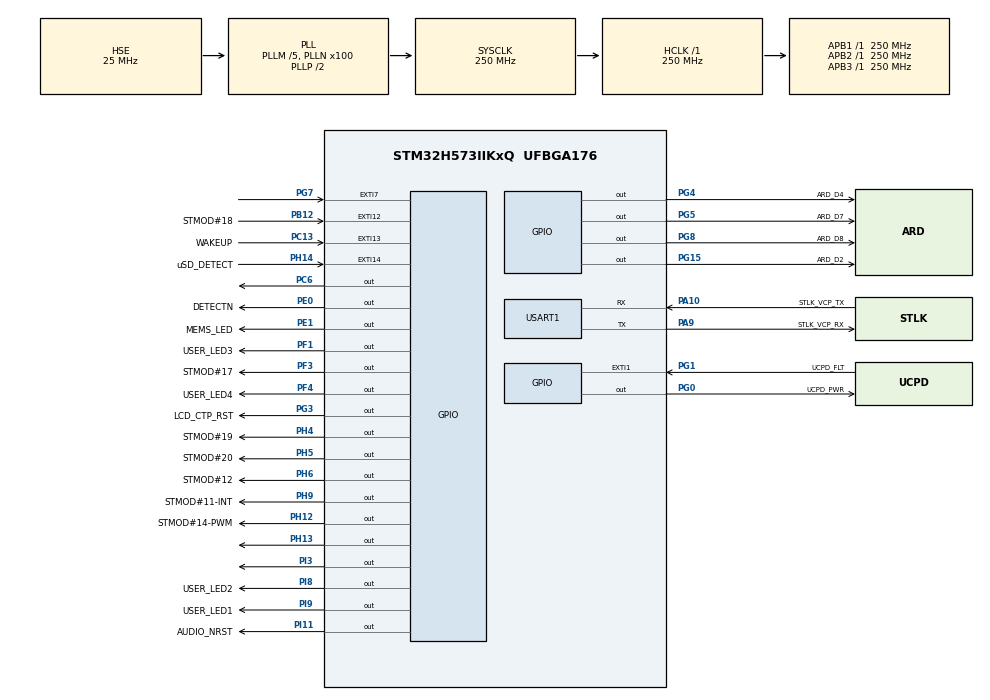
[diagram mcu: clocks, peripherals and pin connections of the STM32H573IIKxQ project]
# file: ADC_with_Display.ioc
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ADC1.Channel-1\#ChannelRegularConversion=ADC_CHANNEL_TEMPSENSOR
ADC1.ContinuousConvMode=ENABLE
ADC1.DMAContinuousRequests=DISABLE
ADC1.MonitoredBy-1\#ChannelRegularConversion=__NULL
ADC1.NbrOfConversionFlag=1
ADC1.OffsetNumber-1\#ChannelRegularConversion=ADC_OFFSET_NONE
ADC1.Rank-1\#ChannelRegularConversion=1
ADC1.SamplingTime-1\#ChannelRegularConversion=ADC_SAMPLETIME_2CYCLES_5
ADC1.master=1
BOOTPATH.BootPathName=LEGACY
BOOTPATH.UserSelectedBootPath=LEGACY
CORTEX_M33_NS.userName=CORTEX_M33
Mcu.Family=STM32H5
Mcu.Name=STM32H573IIKxQ
Mcu.Package=UFBGA176
NVIC.EXTI7_IRQn=true\:0\:0\:false\:false\:true\:false\:true\:true
NVIC.PriorityGroup=NVIC_PRIORITYGROUP_4
PA0.GPIO_Label=ARD_A2
PA0.Signal=ADCx_INP0
PA1.GPIO_Label=RMII_REF_CLK
PA1.Signal=ETH_REF_CLK
PA10.GPIO_Label=STLK_VCP_TX
PA10.Mode=Asynchronous
PA10.Signal=USART1_RX
PA11.GPIO_Label=USB_FS_N
PA11.Signal=USB_DM
PA12.GPIO_Label=USB_FS_P
PA12.Signal=USB_DP
PA13(JTMS/SWDIO).GPIO_Label=JTMS
PA13(JTMS/SWDIO).Signal=DEBUG_JTMS-SWDIO
PA14(JTCK/SWCLK).GPIO_Label=JTCK
PA14(JTCK/SWCLK).Signal=DEBUG_JTCK-SWCLK
PA15(JTDI).GPIO_Label=JTDI
PA15(JTDI).Signal=DEBUG_JTDI
PA2.GPIO_Label=RMII_MDIO
PA2.Signal=ETH_MDIO
PA3.GPIO_Label=ARD_D10
PA3.Signal=SPI2_NSS
PA4.GPIO_Label=ARD_A1
PA4.Signal=ADCx_INP18
PA5.GPIO_Label=ARD_A3
PA5.Signal=ADCx_INP19
PA6.GPIO_Label=ARD_A4
PA6.Signal=ADCx_INP3
PA7.GPIO_Label=RMII_CRS_DV
PA7.Signal=ETH_CRS_DV
PA8.GPIO_Label=ARD_D9
PA8.Signal=S_TIM1_CH1
PA9.GPIO_Label=STLK_VCP_RX
PA9.Mode=Asynchronous
PA9.Signal=USART1_TX
PB0.GPIO_Label=ARD_A0
PB0.Signal=ADCx_INP9
PB1.Signal=OCTOSPI1_IO0
PB10.GPIO_Label=ARD_D1
PB10.Signal=USART3_TX
PB11.GPIO_Label=ARD_D0
PB11.Signal=USART3_RX
PB12.GPIO_Label=STMOD\#18
PB12.Signal=GPXTI12
PB13.GPIO_Label=UCPD_CC1
PB13.Signal=UCPD1_CC1
PB14.GPIO_Label=UCPD_CC2
PB14.Signal=UCPD1_CC2
PB15.GPIO_Label=ARD_D11
PB15.Signal=SPI2_MOSI
PB2.Signal=OCTOSPI1_DQS
PB3(JTDO/TRACESWO).GPIO_Label=SWO
PB3(JTDO/TRACESWO).Signal=DEBUG_JTDO-SWO
PB5.GPIO_Label=ARD_D3
PB5.Signal=S_TIM3_CH2
PB6.GPIO_Label=I2C1_SCL
PB6.Signal=I2C1_SCL
PB7.GPIO_Label=I2C1_SDA
PB7.Signal=I2C1_SDA
PC0.Signal=OCTOSPI1_IO7
PC1.GPIO_Label=RMII_MDC
PC1.Signal=ETH_MDC
PC10.GPIO_Label=SDIO1_D2
PC10.Signal=SDMMC1_D2
PC11.GPIO_Label=SDIO1_D3
PC11.Signal=SDMMC1_D3
PC12.GPIO_Label=SDIO1_CK
PC12.Signal=SDMMC1_CK
PC13.GPIO_Label=WAKEUP
PC13.Signal=GPXTI13
PC14-OSC32_IN(OSC32_IN).Signal=RCC_OSC32_IN
PC15-OSC32_OUT(OSC32_OUT).Signal=RCC_OSC32_OUT
PC2.Signal=OCTOSPI1_IO2
PC3.GPIO_Label=PDM_SAI1_SD3
PC3.Signal=SAI1_D3
PC4.GPIO_Label=RMII_RXD0
PC4.Signal=ETH_RXD0
PC5.GPIO_Label=RMII_RXD1
PC5.Signal=ETH_RXD1
PC6.Signal=GPIO_Output
PC7.Signal=FMC_NE1
PC8.GPIO_Label=SDIO1_D0
PC8.Signal=SDMMC1_D0
PC9.GPIO_Label=SDIO1_D1
PC9.Signal=SDMMC1_D1
PD0.Signal=FMC_D2_DA2
PD1.Signal=FMC_D3_DA3
PD10.Signal=FMC_D15_DA15
PD11.Signal=SAI1_CK1
PD12.Signal=OCTOSPI1_IO1
PD13.Signal=OCTOSPI1_IO3
PD14.Signal=FMC_D0_DA0
PD15.Signal=FMC_D1_DA1
PD2.GPIO_Label=SDIO1_CMD
PD2.Signal=SDMMC1_CMD
PD3.Signal=FMC_CLK
PD4.Signal=FMC_NOE
PD5.Signal=FMC_NWE
PD6.Signal=SAI1_SD_A
PD8.Signal=FMC_D13_DA13
PD9.Signal=FMC_D14_DA14
PE0.GPIO_Label=DETECTN
PE0.Signal=GPIO_Output
PE1.GPIO_Label=MEMS_LED
PE1.Signal=GPIO_Output
PE10.Signal=FMC_D7_DA7
PE11.Signal=FMC_D8_DA8
PE12.Signal=FMC_D9_DA9
PE13.Signal=FMC_D10_DA10
PE14.Signal=FMC_D11_DA11
PE15.Signal=FMC_D12_DA12
PE2.Signal=DEBUG_TRACECLK
PE3.GPIO_Label=TRACED0
PE3.Signal=DEBUG_TRACED0
PE4.Signal=SAI1_D2
PE5.GPIO_Label=TRACED2
PE5.Signal=DEBUG_TRACED2
PE6.GPIO_Label=TRACED3
PE6.Signal=DEBUG_TRACED3
PE7.Signal=FMC_D4_DA4
PE8.Signal=FMC_D5_DA5
PE9.Signal=FMC_D6_DA6
PF0.Signal=FMC_A0
PF1.GPIO_Label=USER_LED3
PF1.Signal=GPIO_Output
PF10.Signal=OCTOSPI1_CLK
PF11.GPIO_Label=STMOD\#13
PF11.Signal=ADC1_INP2
PF12.GPIO_Label=ARD_A5
PF12.Signal=ADC1_INP6
PF13.GPIO_Label=IBUS_SENSE
PF13.Signal=ADC2_INP2
PF14.GPIO_Label=VBUS_SENSE
PF14.Signal=ADC2_INP6
PF3.GPIO_Label=STMOD\#17
PF3.Signal=GPIO_Output
PF4.GPIO_Label=USER_LED4
PF4.Signal=GPIO_Output
PG0.GPIO_Label=UCPD_PWR
PG0.Signal=GPIO_Output
PG1.GPIO_Label=UCPD_FLT
PG1.Signal=GPXTI1
PG10.GPIO_Label=SAI2_SD_B
PG10.Signal=SAI2_SD_B
PG11.GPIO_Label=RMII_TX_EN
PG11.Signal=ETH_TX_EN
PG12.GPIO_Label=RMII_TXD1
PG12.Signal=ETH_TXD1
PG13.Signal=ETH_TXD0
PG14.GPIO_Label=TRACED1
PG14.Signal=DEBUG_TRACED1
PG15.GPIO_Label=ARD_D2
PG15.Signal=GPIO_Output
PG3.GPIO_Label=LCD_CTP_RST
PG3.Signal=GPIO_Output
PG4.GPIO_Label=ARD_D4
PG4.Signal=GPIO_Output
PG5.GPIO_Label=ARD_D7
PG5.Signal=GPIO_Output
PG6.Signal=OCTOSPI1_NCS
PG7.Signal=GPXTI7
PG8.GPIO_Label=ARD_D8
PG8.Signal=GPIO_Output
PG9.Signal=OCTOSPI1_IO6
PH0-OSC_IN(PH0).Mode=HSE-DIG-External-Clock-Source
PH0-OSC_IN(PH0).Signal=RCC_OSC_IN
PH10.GPIO_Label=ARD_D6
PH10.Signal=S_TIM5_CH1
PH11.GPIO_Label=ARD_D5
PH11.Signal=S_TIM5_CH2
PH12.GPIO_Label=STMOD\#14-PWM
PH12.Signal=GPIO_Output
PH13.Signal=GPIO_Output
PH14.GPIO_Label=uSD_DETECT
PH14.Signal=GPXTI14
PH2.Signal=OCTOSPI1_IO4
PH3.Signal=OCTOSPI1_IO5
PH4.GPIO_Label=STMOD\#19
PH4.Signal=GPIO_Output
PH5.GPIO_Label=STMOD\#20
PH5.Signal=GPIO_Output
PH6.GPIO_Label=STMOD\#12
PH6.Signal=GPIO_Output
PH7.GPIO_Label=STMOD\#12-RST
PH7.Signal=SPI5_MISO
PH8.GPIO_Label=STMOD\#9-MISOs
PH8.Signal=SPI5_MOSI
PH9.GPIO_Label=STMOD\#11-INT
PH9.Signal=GPIO_Output
PI1.GPIO_Label=ARD_D13
PI1.Signal=SPI2_SCK
PI10.GPIO_Label=RMII_RX_ER
PI10.Signal=ETH_RX_ER
PI11.GPIO_Label=AUDIO_NRST
PI11.Signal=GPIO_Output
PI2.GPIO_Label=ARD_D12
PI2.Signal=SPI2_MISO
PI3.Signal=GPIO_Output
PI4.GPIO_Label=SAI2_MCLK_A
PI4.Signal=SAI2_MCLK_A
PI5.GPIO_Label=SAI2_SCK_A
PI5.Signal=SAI2_SCK_A
PI6.GPIO_Label=SAI2_SD_A
PI6.Signal=SAI2_SD_A
PI7.GPIO_Label=SAI2_FS_A
PI7.Signal=SAI2_FS_A
PI8.GPIO_Label=USER_LED2
PI8.Signal=GPIO_Output
PI9.GPIO_Label=USER_LED1
PI9.Signal=GPIO_Output
ProjectManager.HeapSize=0x200
ProjectManager.StackSize=0x400
ProjectManager.TargetToolchain=STM32CubeIDE
RCC.ADCFreq_Value=250000000
RCC.AHBFreq_Value=250000000
RCC.APB1Freq_Value=250000000
RCC.APB1TimFreq_Value=250000000
RCC.APB2Freq_Value=250000000
RCC.APB2TimFreq_Value=250000000
RCC.APB3Freq_Value=250000000
RCC.CSI_VALUE=4000000
RCC.CortexFreq_Value=250000000
RCC.EPOD_VALUE=25000000
RCC.HCLKFreq_Value=250000000
RCC.HSE_VALUE=25000000
RCC.HSI48_VALUE=48000000
RCC.HSIDiv=RCC_HSI_DIV1
RCC.HSI_VALUE=64000000
RCC.LSE_VALUE=32768
RCC.LSIRC_VALUE=32000
RCC.PLL2FRACN=0
RCC.PLL2N=32
RCC.PLL2P=1
RCC.PLLM=5
RCC.PLLN=100
RCC.PLLSourceVirtual=RCC_PLL1_SOURCE_HSE
RCC.SYSCLKFreq_VALUE=250000000
RCC.SYSCLKSource=RCC_SYSCLKSOURCE_PLLCLK
RCC.USBFreq_Value=48000000
RCC.VCOOutputFreq_Value=500000000
SH.ADCx_INP0.0=ADC1_INP0
SH.ADCx_INP18.0=ADC1_INP18
SH.ADCx_INP19.0=ADC1_INP19
SH.ADCx_INP3.0=ADC1_INP3
SH.ADCx_INP9.0=ADC1_INP9
SH.FMC_A0.0=FMC_A0
SH.FMC_CLK.0=FMC_CLK
SH.FMC_D0_DA0.0=FMC_D0
SH.FMC_D10_DA10.0=FMC_D10
SH.FMC_D11_DA11.0=FMC_D11
SH.FMC_D12_DA12.0=FMC_D12
SH.FMC_D13_DA13.0=FMC_D13
SH.FMC_D14_DA14.0=FMC_D14
SH.FMC_D15_DA15.0=FMC_D15
SH.FMC_D1_DA1.0=FMC_D1
SH.FMC_D2_DA2.0=FMC_D2
SH.FMC_D3_DA3.0=FMC_D3
SH.FMC_D4_DA4.0=FMC_D4
SH.FMC_D5_DA5.0=FMC_D5
SH.FMC_D6_DA6.0=FMC_D6
SH.FMC_D7_DA7.0=FMC_D7
SH.FMC_D8_DA8.0=FMC_D8
SH.FMC_D9_DA9.0=FMC_D9
SH.FMC_NOE.0=FMC_NOE
SH.FMC_NWE.0=FMC_NWE
SH.S_TIM1_CH1.0=TIM1_CH1
SH.S_TIM3_CH2.0=TIM3_CH2
SH.S_TIM5_CH1.0=TIM5_CH1
SH.S_TIM5_CH2.0=TIM5_CH2
STM32H573I-DK.LCD_TC_ON=true
STM32H573I-DK.OCTOSPI_DEMO=true
USART1.VirtualMode-Asynchronous=VM_ASYNC
VP_ADC1_TempSens_Input.Mode=IN-TempSens
VP_BOOTPATH_VS_BOOTPATH.Mode=BP_Activate
VP_CORTEX_M33_NS_VS_Hclk.Mode=Hclk_Mode
VP_GPDMA1_VS_GPDMACH0.Mode=SIMPLEREQUEST_GPDMACH0
VP_ICACHE_VS_ICACHE.Mode=DirectMappedCache
VP_MEMORYMAP_VS_MEMORYMAP.Mode=CurAppReg
VP_PWR_VS_LPOM.Mode=PowerOptimisation
VP_PWR_VS_SECSignals.Mode=Security/Privilege
VP_STM32H573I-DK_VS_BSP_LCD.Mode=LCD
VP_STM32H573I-DK_VS_BSP_OCTO_SPI.Mode=OSPI
board=STM32H573I-DK

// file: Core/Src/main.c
/* USER CODE BEGIN Header */
/**
  ******************************************************************************
  * @file           : main.c
  * @brief          : Main program body
  ******************************************************************************
  * @attention
  *
  * Copyright (c) 2025 STMicroelectronics.
  * All rights reserved.
  *
  * This software is licensed under terms that can be found in the LICENSE file
  * in the root directory of this software component.
  * If no LICENSE file comes with this software, it is provided AS-IS.
  *
  ******************************************************************************
  */
/* USER CODE END Header */
#include "main.h"

/* USER CODE BEGIN Includes */
#include "stdio.h"
/* USER CODE END Includes */

TS_Init_t   BspTSInit;
BSP_OSPI_NOR_Init_t BspOSPINORInit;
ADC_HandleTypeDef hadc1;

DMA_HandleTypeDef handle_GPDMA1_Channel0;

UART_HandleTypeDef huart1;

void SystemClock_Config(void);
static void MX_GPIO_Init(void);
static void MX_GPDMA1_Init(void);
static void MX_ADC1_Init(void);
static void MX_ICACHE_Init(void);
static void MX_USART1_UART_Init(void);

/* USER CODE BEGIN 0 */
int _write(int file, char *ptr, int len)
{
    HAL_UART_Transmit(&huart1, (uint8_t*)ptr, len, HAL_MAX_DELAY);
    return len;
}
/* USER CODE END 0 */

int main(void)
{

  /* MCU Configuration--------------------------------------------------------*/

  /* Reset of all peripherals, Initializes the Flash interface and the Systick. */
  HAL_Init();

  /* Configure the system clock */
  SystemClock_Config();

  /* Initialize all configured peripherals */
  MX_GPIO_Init();
  MX_GPDMA1_Init();
  MX_ADC1_Init();
  MX_ICACHE_Init();
  MX_USART1_UART_Init();

  /* Initialize LCD to black */
  if (BSP_LCD_Init(0, LCD_ORIENTATION_LANDSCAPE) != BSP_ERROR_NONE)
  {
    Error_Handler();
  }

  /* Initialize Touch screen with interrupts */
  BspTSInit.Orientation = TS_ORIENTATION_LANDSCAPE;
  BspTSInit.Accuracy = 5;
  BspTSInit.Width = LCD_DEFAULT_WIDTH;
  BspTSInit.Height = LCD_DEFAULT_HEIGHT;
  if (BSP_TS_Init(0, &BspTSInit) != BSP_ERROR_NONE)
  {
    Error_Handler();
  }
  BSP_TS_EnableIT(0);

  /* Initialize OCTAL NOR memory */
  BspOSPINORInit.InterfaceMode = BSP_OSPI_NOR_OPI_MODE;
  BspOSPINORInit.TransferRate = BSP_OSPI_NOR_DTR_TRANSFER;
  if (BSP_OSPI_NOR_Init(0, &BspOSPINORInit) != BSP_ERROR_NONE)
  {
    Error_Handler();
  }
  UTIL_LCD_SetFuncDriver(&LCD_Driver);
     UTIL_LCD_SetFont(&Font24);
     UTIL_LCD_Clear(UTIL_LCD_COLOR_ST_BLUE_DARK);
     UTIL_LCD_SetBackColor(UTIL_LCD_COLOR_ST_BLUE_DARK);
     UTIL_LCD_SetTextColor(UTIL_LCD_COLOR_WHITE);
     UTIL_LCD_DisplayStringAt(0, 25, (uint8_t *)"Welcome to", CENTER_MODE);
     UTIL_LCD_DisplayStringAt(0, 50, (uint8_t *)"aiXtrusion!", CENTER_MODE);

  /* Infinite loop */
  /* USER CODE BEGIN WHILE */
  while (1)
  {
	  HAL_ADC_Start(&hadc1);
	      HAL_ADC_PollForConversion(&hadc1, 10);
	      uint32_t adc_value = HAL_ADC_GetValue(&hadc1);

	      float voltage = (float)adc_value * 3.3f / 4095.0f;
	      float temperature = (voltage - 0.5f) * 100.0f;

	      // Print to UART
	      printf("ADC Value: %lu, Voltage: %.3f V, Temperature: %.2f C\r\n",
	             adc_value, voltage, temperature);

	      // Print to LCD
	      char temp_str[32];
	      sprintf(temp_str, "Temp: %.2f C", temperature);
	      UTIL_LCD_DisplayStringAt(0, 75, (uint8_t*)temp_str, CENTER_MODE);

//	   	char adc_v[20];  // allocate enough space for the string
//	   	sprintf(adc_v, "ADC: %lu", adc_value);  // use %lu for unsigned long
//	   	UTIL_LCD_DisplayStringAt(0, 100, (uint8_t*)adc_v, CENTER_MODE);

	  HAL_Delay(1000);
    /* USER CODE END WHILE */

  }
}

void SystemClock_Config(void)
{
  RCC_OscInitTypeDef RCC_OscInitStruct = {0};
  RCC_ClkInitTypeDef RCC_ClkInitStruct = {0};

  /** Configure the main internal regulator output voltage
  */
  __HAL_PWR_VOLTAGESCALING_CONFIG(PWR_REGULATOR_VOLTAGE_SCALE0);

  while(!__HAL_PWR_GET_FLAG(PWR_FLAG_VOSRDY)) {}

  /** Initializes the RCC Oscillators according to the specified parameters
  * in the RCC_OscInitTypeDef structure.
  */
  RCC_OscInitStruct.OscillatorType = RCC_OSCILLATORTYPE_HSE;
  RCC_OscInitStruct.HSEState = RCC_HSE_BYPASS_DIGITAL;
  RCC_OscInitStruct.PLL.PLLState = RCC_PLL_ON;
  RCC_OscInitStruct.PLL.PLLSource = RCC_PLL1_SOURCE_HSE;
  RCC_OscInitStruct.PLL.PLLM = 5;
  RCC_OscInitStruct.PLL.PLLN = 100;
  RCC_OscInitStruct.PLL.PLLP = 2;
  RCC_OscInitStruct.PLL.PLLQ = 2;
  RCC_OscInitStruct.PLL.PLLR = 2;
  RCC_OscInitStruct.PLL.PLLRGE = RCC_PLL1_VCIRANGE_2;
  RCC_OscInitStruct.PLL.PLLVCOSEL = RCC_PLL1_VCORANGE_WIDE;
  RCC_OscInitStruct.PLL.PLLFRACN = 0;
  if (HAL_RCC_OscConfig(&RCC_OscInitStruct) != HAL_OK)
  {
    Error_Handler();
  }

  /** Initializes the CPU, AHB and APB buses clocks
  */
  RCC_ClkInitStruct.ClockType = RCC_CLOCKTYPE_HCLK|RCC_CLOCKTYPE_SYSCLK
                              |RCC_CLOCKTYPE_PCLK1|RCC_CLOCKTYPE_PCLK2
                              |RCC_CLOCKTYPE_PCLK3;
  RCC_ClkInitStruct.SYSCLKSource = RCC_SYSCLKSOURCE_PLLCLK;
  RCC_ClkInitStruct.AHBCLKDivider = RCC_SYSCLK_DIV1;
  RCC_ClkInitStruct.APB1CLKDivider = RCC_HCLK_DIV1;
  RCC_ClkInitStruct.APB2CLKDivider = RCC_HCLK_DIV1;
  RCC_ClkInitStruct.APB3CLKDivider = RCC_HCLK_DIV1;

  if (HAL_RCC_ClockConfig(&RCC_ClkInitStruct, FLASH_LATENCY_5) != HAL_OK)
  {
    Error_Handler();
  }

  /** Configure the programming delay
  */
  __HAL_FLASH_SET_PROGRAM_DELAY(FLASH_PROGRAMMING_DELAY_2);
}

static void MX_ADC1_Init(void)
{

  ADC_ChannelConfTypeDef sConfig = {0};

  /** Common config
  */
  hadc1.Instance = ADC1;
  hadc1.Init.ClockPrescaler = ADC_CLOCK_ASYNC_DIV4;
  hadc1.Init.Resolution = ADC_RESOLUTION_12B;
  hadc1.Init.DataAlign = ADC_DATAALIGN_RIGHT;
  hadc1.Init.ScanConvMode = ADC_SCAN_DISABLE;
  hadc1.Init.EOCSelection = ADC_EOC_SINGLE_CONV;
  hadc1.Init.LowPowerAutoWait = DISABLE;
  hadc1.Init.ContinuousConvMode = ENABLE;
  hadc1.Init.NbrOfConversion = 1;
  hadc1.Init.DiscontinuousConvMode = DISABLE;
  hadc1.Init.ExternalTrigConv = ADC_SOFTWARE_START;
  hadc1.Init.ExternalTrigConvEdge = ADC_EXTERNALTRIGCONVEDGE_NONE;
  hadc1.Init.DMAContinuousRequests = DISABLE;
  hadc1.Init.SamplingMode = ADC_SAMPLING_MODE_NORMAL;
  hadc1.Init.Overrun = ADC_OVR_DATA_PRESERVED;
  hadc1.Init.OversamplingMode = DISABLE;
  if (HAL_ADC_Init(&hadc1) != HAL_OK)
  {
    Error_Handler();
  }

  /** Configure Regular Channel
  */
  sConfig.Channel = ADC_CHANNEL_TEMPSENSOR;
  sConfig.Rank = ADC_REGULAR_RANK_1;
  sConfig.SamplingTime = ADC_SAMPLETIME_2CYCLES_5;
  sConfig.SingleDiff = ADC_SINGLE_ENDED;
  sConfig.OffsetNumber = ADC_OFFSET_NONE;
  sConfig.Offset = 0;
  if (HAL_ADC_ConfigChannel(&hadc1, &sConfig) != HAL_OK)
  {
    Error_Handler();
  }

}

static void MX_GPDMA1_Init(void)
{

  /* Peripheral clock enable */
  __HAL_RCC_GPDMA1_CLK_ENABLE();

  handle_GPDMA1_Channel0.Instance = GPDMA1_Channel0;
  handle_GPDMA1_Channel0.Init.Request = DMA_REQUEST_SW;
  handle_GPDMA1_Channel0.Init.BlkHWRequest = DMA_BREQ_SINGLE_BURST;
  handle_GPDMA1_Channel0.Init.Direction = DMA_MEMORY_TO_MEMORY;
  handle_GPDMA1_Channel0.Init.SrcInc = DMA_SINC_FIXED;
  handle_GPDMA1_Channel0.Init.DestInc = DMA_DINC_FIXED;
  handle_GPDMA1_Channel0.Init.SrcDataWidth = DMA_SRC_DATAWIDTH_BYTE;
  handle_GPDMA1_Channel0.Init.DestDataWidth = DMA_DEST_DATAWIDTH_BYTE;
  handle_GPDMA1_Channel0.Init.Priority = DMA_LOW_PRIORITY_LOW_WEIGHT;
  handle_GPDMA1_Channel0.Init.SrcBurstLength = 1;
  handle_GPDMA1_Channel0.Init.DestBurstLength = 1;
  handle_GPDMA1_Channel0.Init.TransferAllocatedPort = DMA_SRC_ALLOCATED_PORT0|DMA_DEST_ALLOCATED_PORT0;
  handle_GPDMA1_Channel0.Init.TransferEventMode = DMA_TCEM_BLOCK_TRANSFER;
  handle_GPDMA1_Channel0.Init.Mode = DMA_NORMAL;
  if (HAL_DMA_Init(&handle_GPDMA1_Channel0) != HAL_OK)
  {
    Error_Handler();
  }
  if (HAL_DMA_ConfigChannelAttributes(&handle_GPDMA1_Channel0, DMA_CHANNEL_NPRIV) != HAL_OK)
  {
    Error_Handler();
  }

}

static void MX_ICACHE_Init(void)
{

  /** Enable instruction cache in 1-way (direct mapped cache)
  */
  if (HAL_ICACHE_ConfigAssociativityMode(ICACHE_1WAY) != HAL_OK)
  {
    Error_Handler();
  }
  if (HAL_ICACHE_Enable() != HAL_OK)
  {
    Error_Handler();
  }

}

static void MX_USART1_UART_Init(void)
{

  huart1.Instance = USART1;
  huart1.Init.BaudRate = 115200;
  huart1.Init.WordLength = UART_WORDLENGTH_8B;
  huart1.Init.StopBits = UART_STOPBITS_1;
  huart1.Init.Parity = UART_PARITY_NONE;
  huart1.Init.Mode = UART_MODE_TX_RX;
  huart1.Init.HwFlowCtl = UART_HWCONTROL_NONE;
  huart1.Init.OverSampling = UART_OVERSAMPLING_16;
  huart1.Init.OneBitSampling = UART_ONE_BIT_SAMPLE_DISABLE;
  huart1.Init.ClockPrescaler = UART_PRESCALER_DIV1;
  huart1.AdvancedInit.AdvFeatureInit = UART_ADVFEATURE_NO_INIT;
  if (HAL_UART_Init(&huart1) != HAL_OK)
  {
    Error_Handler();
  }
  if (HAL_UARTEx_SetTxFifoThreshold(&huart1, UART_TXFIFO_THRESHOLD_1_8) != HAL_OK)
  {
    Error_Handler();
  }
  if (HAL_UARTEx_SetRxFifoThreshold(&huart1, UART_RXFIFO_THRESHOLD_1_8) != HAL_OK)
  {
    Error_Handler();
  }
  if (HAL_UARTEx_DisableFifoMode(&huart1) != HAL_OK)
  {
    Error_Handler();
  }

}

static void MX_GPIO_Init(void)
{
  GPIO_InitTypeDef GPIO_InitStruct = {0};

  /* GPIO Ports Clock Enable */
  __HAL_RCC_GPIOI_CLK_ENABLE();
  __HAL_RCC_GPIOB_CLK_ENABLE();
  __HAL_RCC_GPIOG_CLK_ENABLE();
  __HAL_RCC_GPIOE_CLK_ENABLE();
  __HAL_RCC_GPIOD_CLK_ENABLE();
  __HAL_RCC_GPIOA_CLK_ENABLE();
  __HAL_RCC_GPIOC_CLK_ENABLE();
  __HAL_RCC_GPIOH_CLK_ENABLE();
  __HAL_RCC_GPIOF_CLK_ENABLE();

  /*Configure GPIO pin Output Level */
  HAL_GPIO_WritePin(GPIOG, ARD_D2_Pin|ARD_D8_Pin|LCD_CTP_RST_Pin|ARD_D7_Pin
                          |ARD_D4_Pin|UCPD_PWR_Pin, GPIO_PIN_RESET);

  /*Configure GPIO pin Output Level */
  HAL_GPIO_WritePin(GPIOE, MEMS_LED_Pin|DETECTN_Pin, GPIO_PIN_RESET);

  /*Configure GPIO pin Output Level */
  HAL_GPIO_WritePin(GPIOI, USER_LED1_Pin|USER_LED2_Pin|AUDIO_NRST_Pin, GPIO_PIN_RESET);

  /*Configure GPIO pin Output Level */
  HAL_GPIO_WritePin(GPIOF, USER_LED3_Pin|USER_LED4_Pin|STMOD_17_Pin, GPIO_PIN_RESET);

  /*Configure GPIO pin Output Level */
  HAL_GPIO_WritePin(GPIOH, STMOD_11_INT_Pin|STMOD_14_PWM_Pin|STMOD_20_Pin|STMOD_12_Pin
                          |STMOD_19_Pin, GPIO_PIN_RESET);

  /*Configure GPIO pins : SAI2_FS_A_Pin SAI2_SCK_A_Pin SAI2_MCLK_A_Pin SAI2_SD_A_Pin */
  GPIO_InitStruct.Pin = SAI2_FS_A_Pin|SAI2_SCK_A_Pin|SAI2_MCLK_A_Pin|SAI2_SD_A_Pin;
  GPIO_InitStruct.Mode = GPIO_MODE_AF_PP;
  GPIO_InitStruct.Pull = GPIO_NOPULL;
  GPIO_InitStruct.Speed = GPIO_SPEED_FREQ_LOW;
  GPIO_InitStruct.Alternate = GPIO_AF10_SAI2;
  HAL_GPIO_Init(GPIOI, &GPIO_InitStruct);

  /*Configure GPIO pin : ARD_D3_Pin */
  GPIO_InitStruct.Pin = ARD_D3_Pin;
  GPIO_InitStruct.Mode = GPIO_MODE_AF_PP;
  GPIO_InitStruct.Pull = GPIO_NOPULL;
  GPIO_InitStruct.Speed = GPIO_SPEED_FREQ_LOW;
  GPIO_InitStruct.Alternate = GPIO_AF2_TIM3;
  HAL_GPIO_Init(ARD_D3_GPIO_Port, &GPIO_InitStruct);

  /*Configure GPIO pins : ARD_D2_Pin ARD_D8_Pin LCD_CTP_RST_Pin ARD_D7_Pin
                           ARD_D4_Pin UCPD_PWR_Pin */
  GPIO_InitStruct.Pin = ARD_D2_Pin|ARD_D8_Pin|LCD_CTP_RST_Pin|ARD_D7_Pin
                          |ARD_D4_Pin|UCPD_PWR_Pin;
  GPIO_InitStruct.Mode = GPIO_MODE_OUTPUT_PP;
  GPIO_InitStruct.Pull = GPIO_NOPULL;
  GPIO_InitStruct.Speed = GPIO_SPEED_FREQ_LOW;
  HAL_GPIO_Init(GPIOG, &GPIO_InitStruct);

  /*Configure GPIO pin : SAI2_SD_B_Pin */
  GPIO_InitStruct.Pin = SAI2_SD_B_Pin;
  GPIO_InitStruct.Mode = GPIO_MODE_AF_PP;
  GPIO_InitStruct.Pull = GPIO_NOPULL;
  GPIO_InitStruct.Speed = GPIO_SPEED_FREQ_LOW;
  GPIO_InitStruct.Alternate = GPIO_AF10_SAI2;
  HAL_GPIO_Init(SAI2_SD_B_GPIO_Port, &GPIO_InitStruct);

  /*Configure GPIO pins : ARD_D13_Pin ARD_D12_Pin */
  GPIO_InitStruct.Pin = ARD_D13_Pin|ARD_D12_Pin;
  GPIO_InitStruct.Mode = GPIO_MODE_AF_PP;
  GPIO_InitStruct.Pull = GPIO_NOPULL;
  GPIO_InitStruct.Speed = GPIO_SPEED_FREQ_LOW;
  GPIO_InitStruct.Alternate = GPIO_AF5_SPI2;
  HAL_GPIO_Init(GPIOI, &GPIO_InitStruct);

  /*Configure GPIO pins : MEMS_LED_Pin DETECTN_Pin */
  GPIO_InitStruct.Pin = MEMS_LED_Pin|DETECTN_Pin;
  GPIO_InitStruct.Mode = GPIO_MODE_OUTPUT_PP;
  GPIO_InitStruct.Pull = GPIO_NOPULL;
  GPIO_InitStruct.Speed = GPIO_SPEED_FREQ_LOW;
  HAL_GPIO_Init(GPIOE, &GPIO_InitStruct);

  /*Configure GPIO pins : I2C1_SCL_Pin I2C1_SDA_Pin */
  GPIO_InitStruct.Pin = I2C1_SCL_Pin|I2C1_SDA_Pin;
  GPIO_InitStruct.Mode = GPIO_MODE_AF_OD;
  GPIO_InitStruct.Pull = GPIO_NOPULL;
  GPIO_InitStruct.Speed = GPIO_SPEED_FREQ_LOW;
  GPIO_InitStruct.Alternate = GPIO_AF4_I2C1;
  HAL_GPIO_Init(GPIOB, &GPIO_InitStruct);

  /*Configure GPIO pins : RMII_TXD1_Pin RMII_TX_EN_Pin */
  GPIO_InitStruct.Pin = RMII_TXD1_Pin|RMII_TX_EN_Pin;
  GPIO_InitStruct.Mode = GPIO_MODE_AF_PP;
  GPIO_InitStruct.Pull = GPIO_NOPULL;
  GPIO_InitStruct.Speed = GPIO_SPEED_FREQ_HIGH;
  GPIO_InitStruct.Alternate = GPIO_AF11_ETH;
  HAL_GPIO_Init(GPIOG, &GPIO_InitStruct);

  /*Configure GPIO pin : PD6 */
  GPIO_InitStruct.Pin = GPIO_PIN_6;
  GPIO_InitStruct.Mode = GPIO_MODE_AF_PP;
  GPIO_InitStruct.Pull = GPIO_NOPULL;
  GPIO_InitStruct.Speed = GPIO_SPEED_FREQ_LOW;
  GPIO_InitStruct.Alternate = GPIO_AF6_SAI1;
  HAL_GPIO_Init(GPIOD, &GPIO_InitStruct);

  /*Configure GPIO pin : PE4 */
  GPIO_InitStruct.Pin = GPIO_PIN_4;
  GPIO_InitStruct.Mode = GPIO_MODE_AF_PP;
  GPIO_InitStruct.Pull = GPIO_NOPULL;
  GPIO_InitStruct.Speed = GPIO_SPEED_FREQ_LOW;
  GPIO_InitStruct.Alternate = GPIO_AF2_SAI1;
  HAL_GPIO_Init(GPIOE, &GPIO_InitStruct);

  /*Configure GPIO pin : SDIO1_CMD_Pin */
  GPIO_InitStruct.Pin = SDIO1_CMD_Pin;
  GPIO_InitStruct.Mode = GPIO_MODE_AF_PP;
  GPIO_InitStruct.Pull = GPIO_NOPULL;
  GPIO_InitStruct.Speed = GPIO_SPEED_FREQ_HIGH;
  GPIO_InitStruct.Alternate = GPIO_AF12_SDMMC1;
  HAL_GPIO_Init(SDIO1_CMD_GPIO_Port, &GPIO_InitStruct);

  /*Configure GPIO pins : SDIO1_CK_Pin SDIO1_D3_Pin SDIO1_D2_Pin SDIO1_D1_Pin
                           SDIO1_D0_Pin */
  GPIO_InitStruct.Pin = SDIO1_CK_Pin|SDIO1_D3_Pin|SDIO1_D2_Pin|SDIO1_D1_Pin
                          |SDIO1_D0_Pin;
  GPIO_InitStruct.Mode = GPIO_MODE_AF_PP;
  GPIO_InitStruct.Pull = GPIO_NOPULL;
  GPIO_InitStruct.Speed = GPIO_SPEED_FREQ_HIGH;
  GPIO_InitStruct.Alternate = GPIO_AF12_SDMMC1;
  HAL_GPIO_Init(GPIOC, &GPIO_InitStruct);

  /*Configure GPIO pins : USB_FS_P_Pin USB_FS_N_Pin */
  GPIO_InitStruct.Pin = USB_FS_P_Pin|USB_FS_N_Pin;
  GPIO_InitStruct.Mode = GPIO_MODE_AF_PP;
  GPIO_InitStruct.Pull = GPIO_NOPULL;
  GPIO_InitStruct.Speed = GPIO_SPEED_FREQ_LOW;
  GPIO_InitStruct.Alternate = GPIO_AF10_USB;
  HAL_GPIO_Init(GPIOA, &GPIO_InitStruct);

  /*Configure GPIO pin : uSD_DETECT_Pin */
  GPIO_InitStruct.Pin = uSD_DETECT_Pin;
  GPIO_InitStruct.Mode = GPIO_MODE_IT_RISING;
  GPIO_InitStruct.Pull = GPIO_NOPULL;
  HAL_GPIO_Init(uSD_DETECT_GPIO_Port, &GPIO_InitStruct);

  /*Configure GPIO pins : USER_LED1_Pin USER_LED2_Pin AUDIO_NRST_Pin */
  GPIO_InitStruct.Pin = USER_LED1_Pin|USER_LED2_Pin|AUDIO_NRST_Pin;
  GPIO_InitStruct.Mode = GPIO_MODE_OUTPUT_PP;
  GPIO_InitStruct.Pull = GPIO_NOPULL;
  GPIO_InitStruct.Speed = GPIO_SPEED_FREQ_LOW;
  HAL_GPIO_Init(GPIOI, &GPIO_InitStruct);

  /*Configure GPIO pin : WAKEUP_Pin */
  GPIO_InitStruct.Pin = WAKEUP_Pin;
  GPIO_InitStruct.Mode = GPIO_MODE_IT_RISING;
  GPIO_InitStruct.Pull = GPIO_NOPULL;
  HAL_GPIO_Init(WAKEUP_GPIO_Port, &GPIO_InitStruct);

  /*Configure GPIO pins : USER_LED3_Pin USER_LED4_Pin STMOD_17_Pin */
  GPIO_InitStruct.Pin = USER_LED3_Pin|USER_LED4_Pin|STMOD_17_Pin;
  GPIO_InitStruct.Mode = GPIO_MODE_OUTPUT_PP;
  GPIO_InitStruct.Pull = GPIO_NOPULL;
  GPIO_InitStruct.Speed = GPIO_SPEED_FREQ_LOW;
  HAL_GPIO_Init(GPIOF, &GPIO_InitStruct);

  /*Configure GPIO pin : RMII_RX_ER_Pin */
  GPIO_InitStruct.Pin = RMII_RX_ER_Pin;
  GPIO_InitStruct.Mode = GPIO_MODE_AF_PP;
  GPIO_InitStruct.Pull = GPIO_NOPULL;
  GPIO_InitStruct.Speed = GPIO_SPEED_FREQ_HIGH;
  GPIO_InitStruct.Alternate = GPIO_AF11_ETH;
  HAL_GPIO_Init(RMII_RX_ER_GPIO_Port, &GPIO_InitStruct);

  /*Configure GPIO pin : ARD_D9_Pin */
  GPIO_InitStruct.Pin = ARD_D9_Pin;
  GPIO_InitStruct.Mode = GPIO_MODE_AF_PP;
  GPIO_InitStruct.Pull = GPIO_NOPULL;
  GPIO_InitStruct.Speed = GPIO_SPEED_FREQ_LOW;
  GPIO_InitStruct.Alternate = GPIO_AF1_TIM1;
  HAL_GPIO_Init(ARD_D9_GPIO_Port, &GPIO_InitStruct);

  /*Configure GPIO pins : RMII_MDC_Pin RMII_RXD0_Pin RMII_RXD1_Pin */
  GPIO_InitStruct.Pin = RMII_MDC_Pin|RMII_RXD0_Pin|RMII_RXD1_Pin;
  GPIO_InitStruct.Mode = GPIO_MODE_AF_PP;
  GPIO_InitStruct.Pull = GPIO_NOPULL;
  GPIO_InitStruct.Speed = GPIO_SPEED_FREQ_HIGH;
  GPIO_InitStruct.Alternate = GPIO_AF11_ETH;
  HAL_GPIO_Init(GPIOC, &GPIO_InitStruct);

  /*Configure GPIO pins : RMII_REF_CLK_Pin RMII_MDIO_Pin RMII_CRS_DV_Pin */
  GPIO_InitStruct.Pin = RMII_REF_CLK_Pin|RMII_MDIO_Pin|RMII_CRS_DV_Pin;
  GPIO_InitStruct.Mode = GPIO_MODE_AF_PP;
  GPIO_InitStruct.Pull = GPIO_NOPULL;
  GPIO_InitStruct.Speed = GPIO_SPEED_FREQ_HIGH;
  GPIO_InitStruct.Alternate = GPIO_AF11_ETH;
  HAL_GPIO_Init(GPIOA, &GPIO_InitStruct);

  /*Configure GPIO pin : STMOD_18_Pin */
  GPIO_InitStruct.Pin = STMOD_18_Pin;
  GPIO_InitStruct.Mode = GPIO_MODE_IT_RISING;
  GPIO_InitStruct.Pull = GPIO_NOPULL;
  HAL_GPIO_Init(STMOD_18_GPIO_Port, &GPIO_InitStruct);

  /*Configure GPIO pin : PD11 */
  GPIO_InitStruct.Pin = GPIO_PIN_11;
  GPIO_InitStruct.Mode = GPIO_MODE_AF_PP;
  GPIO_InitStruct.Pull = GPIO_NOPULL;
  GPIO_InitStruct.Speed = GPIO_SPEED_FREQ_LOW;
  GPIO_InitStruct.Alternate = GPIO_AF2_SAI1;
  HAL_GPIO_Init(GPIOD, &GPIO_InitStruct);

  /*Configure GPIO pins : ARD_D1_Pin ARD_D0_Pin */
  GPIO_InitStruct.Pin = ARD_D1_Pin|ARD_D0_Pin;
  GPIO_InitStruct.Mode = GPIO_MODE_AF_PP;
  GPIO_InitStruct.Pull = GPIO_NOPULL;
  GPIO_InitStruct.Speed = GPIO_SPEED_FREQ_LOW;
  GPIO_InitStruct.Alternate = GPIO_AF7_USART3;
  HAL_GPIO_Init(GPIOB, &GPIO_InitStruct);

  /*Configure GPIO pins : STMOD_11_INT_Pin STMOD_14_PWM_Pin STMOD_20_Pin STMOD_12_Pin
                           STMOD_19_Pin */
  GPIO_InitStruct.Pin = STMOD_11_INT_Pin|STMOD_14_PWM_Pin|STMOD_20_Pin|STMOD_12_Pin
                          |STMOD_19_Pin;
  GPIO_InitStruct.Mode = GPIO_MODE_OUTPUT_PP;
  GPIO_InitStruct.Pull = GPIO_NOPULL;
  GPIO_InitStruct.Speed = GPIO_SPEED_FREQ_LOW;
  HAL_GPIO_Init(GPIOH, &GPIO_InitStruct);

  /*Configure GPIO pin : ARD_D11_Pin */
  GPIO_InitStruct.Pin = ARD_D11_Pin;
  GPIO_InitStruct.Mode = GPIO_MODE_AF_PP;
  GPIO_InitStruct.Pull = GPIO_NOPULL;
  GPIO_InitStruct.Speed = GPIO_SPEED_FREQ_LOW;
  GPIO_InitStruct.Alternate = GPIO_AF5_SPI2;
  HAL_GPIO_Init(ARD_D11_GPIO_Port, &GPIO_InitStruct);

  /*Configure GPIO pin : PDM_SAI1_SD3_Pin */
  GPIO_InitStruct.Pin = PDM_SAI1_SD3_Pin;
  GPIO_InitStruct.Mode = GPIO_MODE_AF_PP;
  GPIO_InitStruct.Pull = GPIO_NOPULL;
  GPIO_InitStruct.Speed = GPIO_SPEED_FREQ_LOW;
  GPIO_InitStruct.Alternate = GPIO_AF2_SAI1;
  HAL_GPIO_Init(PDM_SAI1_SD3_GPIO_Port, &GPIO_InitStruct);

  /*Configure GPIO pin : ARD_D10_Pin */
  GPIO_InitStruct.Pin = ARD_D10_Pin;
  GPIO_InitStruct.Mode = GPIO_MODE_AF_PP;
  GPIO_InitStruct.Pull = GPIO_NOPULL;
  GPIO_InitStruct.Speed = GPIO_SPEED_FREQ_LOW;
  GPIO_InitStruct.Alternate = GPIO_AF5_SPI2;
  HAL_GPIO_Init(ARD_D10_GPIO_Port, &GPIO_InitStruct);

  /*Configure GPIO pins : STMOD_9_MISOs_Pin STMOD_12_RST_Pin */
  GPIO_InitStruct.Pin = STMOD_9_MISOs_Pin|STMOD_12_RST_Pin;
  GPIO_InitStruct.Mode = GPIO_MODE_AF_PP;
  GPIO_InitStruct.Pull = GPIO_NOPULL;
  GPIO_InitStruct.Speed = GPIO_SPEED_FREQ_LOW;
  GPIO_InitStruct.Alternate = GPIO_AF5_SPI5;
  HAL_GPIO_Init(GPIOH, &GPIO_InitStruct);

  /*Configure GPIO pins : ARD_D6_Pin ARD_D5_Pin */
  GPIO_InitStruct.Pin = ARD_D6_Pin|ARD_D5_Pin;
  GPIO_InitStruct.Mode = GPIO_MODE_AF_PP;
  GPIO_InitStruct.Pull = GPIO_NOPULL;
  GPIO_InitStruct.Speed = GPIO_SPEED_FREQ_LOW;
  GPIO_InitStruct.Alternate = GPIO_AF2_TIM5;
  HAL_GPIO_Init(GPIOH, &GPIO_InitStruct);

  /*Configure GPIO pins : UCPD_CC2_Pin UCPD_CC1_Pin */
  GPIO_InitStruct.Pin = UCPD_CC2_Pin|UCPD_CC1_Pin;
  GPIO_InitStruct.Mode = GPIO_MODE_ANALOG;
  GPIO_InitStruct.Pull = GPIO_NOPULL;
  HAL_GPIO_Init(GPIOB, &GPIO_InitStruct);

  /*Configure GPIO pins : IBUS_SENSE_Pin VBUS_SENSE_Pin */
  GPIO_InitStruct.Pin = IBUS_SENSE_Pin|VBUS_SENSE_Pin;
  GPIO_InitStruct.Mode = GPIO_MODE_ANALOG;
  GPIO_InitStruct.Pull = GPIO_NOPULL;
  HAL_GPIO_Init(GPIOF, &GPIO_InitStruct);

  /*Configure GPIO pin : UCPD_FLT_Pin */
  GPIO_InitStruct.Pin = UCPD_FLT_Pin;
  GPIO_InitStruct.Mode = GPIO_MODE_IT_RISING;
  GPIO_InitStruct.Pull = GPIO_NOPULL;
  HAL_GPIO_Init(UCPD_FLT_GPIO_Port, &GPIO_InitStruct);

}

void Error_Handler(void)
{
  __disable_irq();
  while (1)
  {
  }
}
